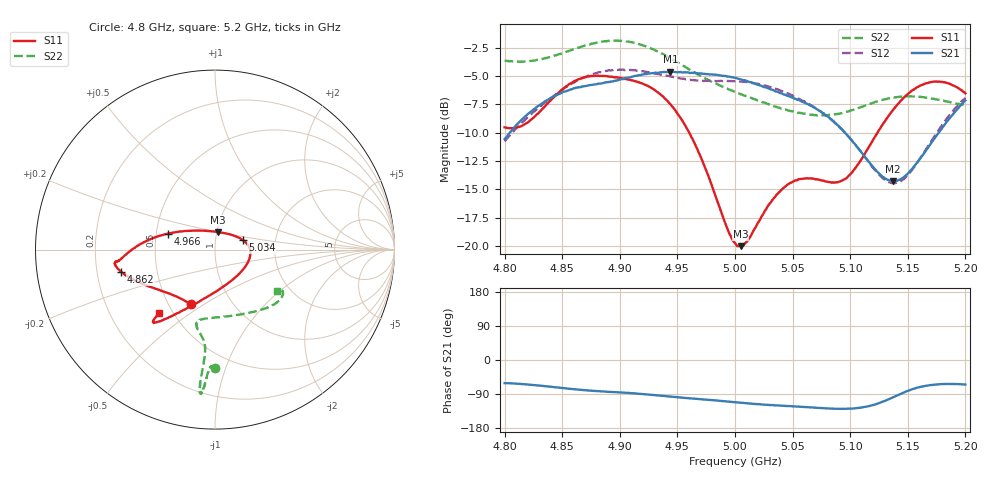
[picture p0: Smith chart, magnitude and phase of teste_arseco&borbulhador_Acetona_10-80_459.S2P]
! Network Analyzer HP8722D
! Hewlett-Packard
! Data name: Linha & Wilkinson
! Saver's name: Rodrigo Anjos
! Comments: Teste da utilização de aquisição
! continua pelo VNA HP8722D
! Time and date: 17/4/2025 18:11
!  Frequency  S11  S21  S12  S22
# HZ  S  MA R 50
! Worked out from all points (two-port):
!   401 points, 4.8 GHz to 5.2 GHz, reference 50 ohm
!   highest |S21| = -4.62 dB at 4.944 GHz (marker M1); lowest = -14.3 dB at 5.137 GHz (marker M2)
!   |S21| within 3 dB of the highest: 4.83 GHz to 5.065 GHz (235.9 MHz wide, 4.77 % of centre); 5.195682 GHz to end of sweep
!   lowest |S11| = -20.0 dB at 5.005 GHz (marker M3), VSWR 1.22, Z = 50.8 + j10.1 ohm
!   |S11| at or under -10 dB: 4.96 GHz to 5.124 GHz (163.4 MHz wide, 3.24 % of centre)
!   |S22| runs from -8.5 to -1.9 dB; largest |S21 - S12| = 0.88
!   S11 on the Smith chart (normalised r, x): 4.8 GHz: 0.64, -0.44; 4.862 GHz: 0.30, -0.11; 4.966 GHz: 0.58, +0.11; 5.034 GHz: 1.35, +0.15; 5.2 GHz: 0.42, -0.38
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4.8e9  0.3336 -113.9  0.2962 -61.0  0.2892 -175.1  0.6578 -90.2
4.819e9  0.3484 -134.1  0.3768 -64.4  0.3654 -174.0  0.653 -92.0
4.862e9  0.5374 -166.6  0.4991 -77.5  0.5334 -177.3  0.7461 -94.2
4.867e9  0.5506 -168.5  0.5054 -79.1  0.5482 -178.4  0.7589 -94.5
4.9e9  0.5518 -173.1  0.5419 -85.6  0.6015 175.1  0.8044 -95.9
4.934e9  0.4721 -179.1  0.5814 -93.8  0.5742 171.4  0.7153 -96.2
4.944e9  0.422 176.1  0.5876 -96.6  0.5593 171.8  0.6736 -95.9
4.966e9  0.2759 161.2  0.5797 -102.3  0.5381 173.5  0.5782 -95.5
4.993e9  0.1203 119.1  0.5599 -109.4  0.5342 175.8  0.4952 -98.2
5e9  0.103 97.3  0.552 -111.4  0.5331 175.8  0.4777 -99.7
5.005e9  0.09972 79.9  0.5428 -112.8  0.5314 175.8  0.4665 -100.8
5.012e9  0.1074 57.8  0.5297 -114.7  0.5257 175.5  0.4537 -102.3
5.034e9  0.1632 19.5  0.4844 -119.6  0.4954 174.5  0.4132 -103.7
5.05e9  0.1917 3.4  0.4525 -122.3  0.4606 173.8  0.393 -99.5
5.067e9  0.1983 -14.9  0.4137 -125.2  0.415 173.4  0.3795 -90.5
5.086e9  0.1902 -45.3  0.3527 -128.6  0.3521 173.5  0.3806 -76.0
5.097e9  0.1994 -67.9  0.3096 -128.7  0.3098 174.7  0.3907 -66.9
5.134e9  0.379 -117.5  0.1946 -102.7  0.1909 -155.7  0.4484 -43.0
5.137e9  0.397 -119.2  0.1927 -98.8  0.1896 -150.9  0.4516 -41.7
5.15e9  0.4678 -125.1  0.2085 -81.5  0.2056 -131.2  0.457 -36.9
5.17e9  0.5285 -129.7  0.2828 -66.1  0.2878 -112.3  0.4478 -32.2
5.2e9  0.4711 -131.4  0.4385 -64.8  0.4502 -106.8  0.4166 -33.7
